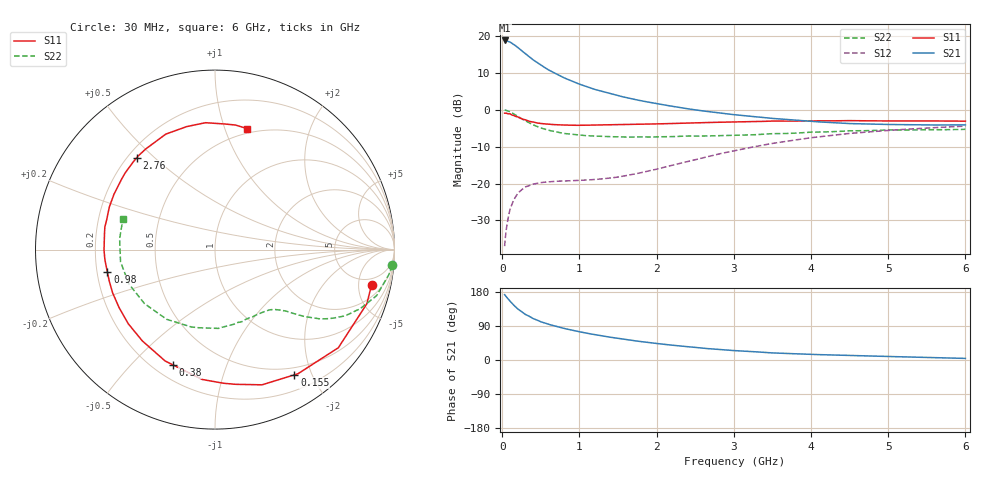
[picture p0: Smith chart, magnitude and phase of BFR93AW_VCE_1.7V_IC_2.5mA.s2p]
! Infineon Technologies  Discrete & RF Semiconductors
! BFR93AW
! VCE =  1.7 V,  IC =  2.5 mA
! Common Emitter S-Parameters:  Nov 2015
# GHz  S  MA  R  50
!  f  S11  S21  S12  S22
! GHz  MAG  ANG  MAG  ANG  MAG  ANG  MAG  ANG
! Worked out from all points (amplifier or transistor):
!   206 points, 30 MHz to 6 GHz, reference 50 ohm
!   highest |S21| = 18.7 dB at 30 MHz (marker M1)
!   |S21| within 3 dB of that: start of sweep to 264.4 MHz
!   unconditionally stable (mu >= 1): 1.147 GHz to 2.532 GHz; 5.946 GHz to end of sweep
!   at 200 MHz: K = 0.19, MSG = 19.8 dB, |S12| = -22.7 dB
!   at 1.56 GHz: K = 1.16, MAG = 8.3 dB, |S12| = -18.0 dB
!   at 6 GHz: K = 1.00, MAG = 0.0 dB, |S12| = -4.5 dB
!   S11 on the Smith chart (normalised r, x): 30 MHz: 3.65, -7.15; 155 MHz: 0.40, -1.75; 380 MHz: 0.27, -0.66; 980 MHz: 0.24, -0.10; 2.76 GHz: 0.24, +0.44; 6 GHz: 0.46, +1.20
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0.03  0.8941 -12.7  8.614 172.4  0.0142 81.6  0.9913 -5.1
0.05  0.8983 -19.6  8.592 167.1  0.0232 78.7  0.9779 -8.3
0.1  0.8782 -38.5  8.235 155.1  0.0445 69.2  0.9362 -15.9
0.155  0.8262 -57.6  7.526 143.2  0.0616 60.0  0.8678 -22.6
0.2  0.7977 -70.8  6.941 134.9  0.0735 53.7  0.813 -27.0
0.26  0.7463 -86.3  6.151 125.6  0.0838 47.3  0.7424 -31.2
0.3  0.7271 -95.6  5.692 120.1  0.0898 44.3  0.7023 -33.4
0.38  0.6834 -110.2  4.889 111.8  0.0965 39.5  0.6364 -36.1
0.4  0.68 -114.1  4.708 109.3  0.0982 38.4  0.6202 -36.9
0.5  0.6502 -128.5  3.994 100.8  0.1031 34.9  0.5626 -39.2
0.6  0.6358 -139.5  3.436 94.1  0.1053 33.2  0.525 -40.8
0.8  0.6192 -157.1  2.691 83.2  0.1081 32.9  0.4755 -44.6
0.98  0.6128 -168.2  2.25 75.3  0.11 35.1  0.4544 -47.6
1.04  0.6135 -171.6  2.135 72.9  0.1108 36.0  0.4482 -49.1
1.2  0.6183 -179.6  1.873 66.8  0.1132 39.3  0.4384 -52.8
1.5  0.6265 168.4  1.54 57.0  0.1222 47.1  0.4292 -60.8
2.02  0.642 150.7  1.192 43.0  0.1583 58.1  0.4289 -76.4
2.76  0.6725 130.5  0.916 28.5  0.2451 62.2  0.4427 -100.0
3.1  0.682 122.3  0.834 23.8  0.2906 60.3  0.4516 -110.6
4.1  0.7031 101.3  0.682 14.2  0.4276 48.5  0.4962 -145.7
5.1  0.7019 85.7  0.627 8.8  0.5319 34.0  0.529 -175.5
6  0.6975 75.0  0.621 4.2  0.5975 22.1  0.5408 161.6
